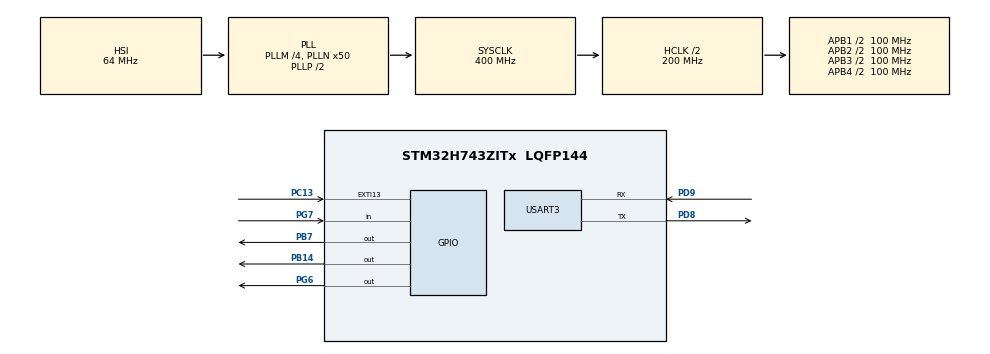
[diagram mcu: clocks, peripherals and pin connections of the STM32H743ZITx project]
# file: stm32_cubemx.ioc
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CORTEX_M7.CPU_DCache=Enabled
CORTEX_M7.CPU_ICache=Enabled
Mcu.Family=STM32H7
Mcu.Name=STM32H743ZITx
Mcu.Package=LQFP144
NVIC.PriorityGroup=NVIC_PRIORITYGROUP_4
PA1.GPIO_Mode=GPIO_MODE_AF_PP
PA1.GPIO_PuPd=GPIO_NOPULL
PA1.GPIO_Speed=GPIO_SPEED_FREQ_LOW
PA1.Signal=ETH_REF_CLK
PA10.GPIO_Mode=GPIO_MODE_AF_PP
PA10.GPIO_PuPd=GPIO_NOPULL
PA10.GPIO_Speed=GPIO_SPEED_FREQ_LOW
PA10.Signal=USB_OTG_FS_ID
PA11.GPIO_Mode=GPIO_MODE_AF_PP
PA11.GPIO_PuPd=GPIO_NOPULL
PA11.GPIO_Speed=GPIO_SPEED_FREQ_LOW
PA11.Signal=USB_OTG_FS_DM
PA12.GPIO_Mode=GPIO_MODE_AF_PP
PA12.GPIO_PuPd=GPIO_NOPULL
PA12.GPIO_Speed=GPIO_SPEED_FREQ_LOW
PA12.Signal=USB_OTG_FS_DP
PA2.GPIO_Mode=GPIO_MODE_AF_PP
PA2.GPIO_PuPd=GPIO_NOPULL
PA2.GPIO_Speed=GPIO_SPEED_FREQ_LOW
PA2.Signal=ETH_MDIO
PA7.GPIO_Mode=GPIO_MODE_AF_PP
PA7.GPIO_PuPd=GPIO_NOPULL
PA7.GPIO_Speed=GPIO_SPEED_FREQ_LOW
PA7.Signal=ETH_CRS_DV
PA8.GPIO_Mode=GPIO_MODE_AF_PP
PA8.GPIO_PuPd=GPIO_NOPULL
PA8.GPIO_Speed=GPIO_SPEED_FREQ_LOW
PA8.Signal=USB_OTG_FS_SOF
PA9.GPIO_Mode=GPIO_MODE_INPUT
PA9.GPIO_PuPd=GPIO_NOPULL
PA9.Signal=USB_OTG_FS_VBUS
PB13.GPIO_Mode=GPIO_MODE_AF_PP
PB13.GPIO_PuPd=GPIO_NOPULL
PB13.GPIO_Speed=GPIO_SPEED_FREQ_LOW
PB13.Signal=ETH_TXD1
PB14.GPIO_ModeDefaultOutputPP=GPIO_MODE_OUTPUT_PP
PB14.GPIO_PuPd=GPIO_NOPULL
PB14.GPIO_Speed=GPIO_SPEED_FREQ_LOW
PB14.PinState=GPIO_PIN_RESET
PB14.Signal=GPIO_Output
PB7.GPIO_FM7=__NULL
PB7.GPIO_ModeDefaultOutputPP=GPIO_MODE_OUTPUT_PP
PB7.GPIO_PuPd=GPIO_NOPULL
PB7.GPIO_Speed=GPIO_SPEED_FREQ_LOW
PB7.PinState=GPIO_PIN_RESET
PB7.Signal=GPIO_Output
PC1.GPIO_Mode=GPIO_MODE_AF_PP
PC1.GPIO_PuPd=GPIO_NOPULL
PC1.GPIO_Speed=GPIO_SPEED_FREQ_LOW
PC1.Signal=ETH_MDC
PC13.GPIO_ModeDefaultEXTI=GPIO_MODE_IT_RISING
PC13.GPIO_PuPd=GPIO_NOPULL
PC13.Signal=GPXTI13
PC14-OSC32_IN\ (OSC32_IN).Mode=LSE-External-Oscillator
PC14-OSC32_IN\ (OSC32_IN).Signal=RCC_OSC32_IN
PC15-OSC32_OUT\ (OSC32_OUT).Mode=LSE-External-Oscillator
PC15-OSC32_OUT\ (OSC32_OUT).Signal=RCC_OSC32_OUT
PC4.GPIO_Mode=GPIO_MODE_AF_PP
PC4.GPIO_PuPd=GPIO_NOPULL
PC4.GPIO_Speed=GPIO_SPEED_FREQ_LOW
PC4.Signal=ETH_RXD0
PC5.GPIO_Mode=GPIO_MODE_AF_PP
PC5.GPIO_PuPd=GPIO_NOPULL
PC5.GPIO_Speed=GPIO_SPEED_FREQ_LOW
PC5.Signal=ETH_RXD1
PD8.GPIO_ModeDefaultPP=GPIO_MODE_AF_PP
PD8.GPIO_PuPd=GPIO_NOPULL
PD8.GPIO_Speed=GPIO_SPEED_FREQ_LOW
PD8.Mode=Asynchronous
PD8.Signal=USART3_TX
PD9.GPIO_ModeDefaultPP=GPIO_MODE_AF_PP
PD9.GPIO_PuPd=GPIO_NOPULL
PD9.GPIO_Speed=GPIO_SPEED_FREQ_LOW
PD9.Mode=Asynchronous
PD9.Signal=USART3_RX
PG11.GPIO_Mode=GPIO_MODE_AF_PP
PG11.GPIO_PuPd=GPIO_NOPULL
PG11.GPIO_Speed=GPIO_SPEED_FREQ_LOW
PG11.Signal=ETH_TX_EN
PG13.GPIO_Mode=GPIO_MODE_AF_PP
PG13.GPIO_PuPd=GPIO_NOPULL
PG13.GPIO_Speed=GPIO_SPEED_FREQ_LOW
PG13.Signal=ETH_TXD0
PG6.GPIO_ModeDefaultOutputPP=GPIO_MODE_OUTPUT_PP
PG6.GPIO_PuPd=GPIO_NOPULL
PG6.GPIO_Speed=GPIO_SPEED_FREQ_LOW
PG6.PinState=GPIO_PIN_RESET
PG6.Signal=GPIO_Output
PG7.GPIO_Mode=GPIO_MODE_INPUT
PG7.GPIO_PuPd=GPIO_NOPULL
PG7.Signal=GPIO_Input
PH0-OSC_IN\ (PH0).Mode=HSE-External-Clock-Source
PH0-OSC_IN\ (PH0).Signal=RCC_OSC_IN
PH1-OSC_OUT\ (PH1).Mode=HSE-External-Clock-Source
PH1-OSC_OUT\ (PH1).Signal=RCC_OSC_OUT
ProjectManager.HeapSize=0x200
ProjectManager.StackSize=0x400
ProjectManager.TargetToolchain=Makefile
RCC.ADCFreq_Value=129000000
RCC.APB1Freq_Value=100000000
RCC.APB2Freq_Value=100000000
RCC.APB3Freq_Value=100000000
RCC.APB4Freq_Value=100000000
RCC.CortexFreq_Value=400000000
RCC.D1PPRE=RCC_APB3_DIV2
RCC.D2PPRE1=RCC_APB1_DIV2
RCC.D2PPRE2=RCC_APB2_DIV2
RCC.D3PPRE=RCC_APB4_DIV2
RCC.DIVM1=4
RCC.DIVN1=50
RCC.HCLKFreq_Value=200000000
RCC.HPRE=RCC_HCLK_DIV2
RCC.PLLFRACN=0
RCC.SYSCLKFreq_VALUE=400000000
RCC.SYSCLKSource=RCC_SYSCLKSOURCE_PLLCLK
RCC.USBCLockSelection=RCC_USBCLKSOURCE_HSI48
RCC.USBFreq_Value=48000000
USART3.VirtualMode-Asynchronous=VM_ASYNC
board=NUCLEO-H743ZI

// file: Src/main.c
/* USER CODE BEGIN Header */
/**
  ******************************************************************************
  * @file           : main.c
  * @brief          : Main program body
  ******************************************************************************
  * @attention
  *
  * <h2><center>&copy; Copyright (c) 2019 STMicroelectronics.
  * All rights reserved.</center></h2>
  *
  * This software component is licensed by ST under BSD 3-Clause license,
  * the "License"; You may not use this file except in compliance with the
  * License. You may obtain a copy of the License at:
  *                        opensource.org/licenses/BSD-3-Clause
  *
  ******************************************************************************
  */
/* USER CODE END Header */

#include "main.h"

/* USER CODE BEGIN Includes */

#include <stdint.h>
#include <stdio.h>

#include "network.h"
#include "test_stimulus.h"

/* USER CODE END Includes */

UART_HandleTypeDef huart3;

void SystemClock_Config(void);
static void MX_GPIO_Init(void);
static void MX_USART3_UART_Init(void);

/* USER CODE BEGIN 0 */

int _write(int file, char *data, int len)
{
   HAL_StatusTypeDef status = HAL_UART_Transmit(&huart3, (uint8_t*) data, len, 1000);

   return (status == HAL_OK ? len : 0);
}

/* USER CODE END 0 */

int main(void)
{

  /* Enable I-Cache---------------------------------------------------------*/
  SCB_EnableICache();

  /* Enable D-Cache---------------------------------------------------------*/
  SCB_EnableDCache();

  /* MCU Configuration--------------------------------------------------------*/

  /* Reset of all peripherals, Initializes the Flash interface and the Systick. */
  HAL_Init();

  /* Configure the system clock */
  SystemClock_Config();

  /* Initialize all configured peripherals */
  MX_GPIO_Init();
  MX_USART3_UART_Init();
  /* USER CODE BEGIN 2 */

  printf("Start benchmark.\r\n");

  const size_t nb_iterations = 5;
  const uint32_t start = HAL_GetTick();

  int32_t prediction = -1;

  /* USER CODE END 2 */

  /* Infinite loop */
  /* USER CODE BEGIN WHILE */
  for(size_t i = 0; i < nb_iterations; i++)
  {
    /* USER CODE END WHILE */

    /* USER CODE BEGIN 3 */
    propagate((const void*) input, &prediction);
  }

  const uint32_t stop = HAL_GetTick();

  printf("End benchmark.\r\n");
  printf("Time per image: %lu ms\r\n", (stop-start)/nb_iterations);
  printf("Predicted class: %ld.\r\n\n", prediction);

  /* USER CODE END 3 */
}

void SystemClock_Config(void)
{
  RCC_OscInitTypeDef RCC_OscInitStruct = {0};
  RCC_ClkInitTypeDef RCC_ClkInitStruct = {0};
  RCC_PeriphCLKInitTypeDef PeriphClkInitStruct = {0};

  /** Supply configuration update enable
  */
  HAL_PWREx_ConfigSupply(PWR_LDO_SUPPLY);
  /** Configure the main internal regulator output voltage
  */
  __HAL_PWR_VOLTAGESCALING_CONFIG(PWR_REGULATOR_VOLTAGE_SCALE1);

  while(!__HAL_PWR_GET_FLAG(PWR_FLAG_VOSRDY)) {}
  /** Initializes the CPU, AHB and APB busses clocks
  */
  RCC_OscInitStruct.OscillatorType = RCC_OSCILLATORTYPE_HSI;
  RCC_OscInitStruct.HSIState = RCC_HSI_DIV1;
  RCC_OscInitStruct.HSICalibrationValue = RCC_HSICALIBRATION_DEFAULT;
  RCC_OscInitStruct.PLL.PLLState = RCC_PLL_ON;
  RCC_OscInitStruct.PLL.PLLSource = RCC_PLLSOURCE_HSI;
  RCC_OscInitStruct.PLL.PLLM = 4;
  RCC_OscInitStruct.PLL.PLLN = 50;
  RCC_OscInitStruct.PLL.PLLP = 2;
  RCC_OscInitStruct.PLL.PLLQ = 2;
  RCC_OscInitStruct.PLL.PLLR = 2;
  RCC_OscInitStruct.PLL.PLLRGE = RCC_PLL1VCIRANGE_3;
  RCC_OscInitStruct.PLL.PLLVCOSEL = RCC_PLL1VCOWIDE;
  RCC_OscInitStruct.PLL.PLLFRACN = 0;
  if (HAL_RCC_OscConfig(&RCC_OscInitStruct) != HAL_OK)
  {
    Error_Handler();
  }
  /** Initializes the CPU, AHB and APB busses clocks
  */
  RCC_ClkInitStruct.ClockType = RCC_CLOCKTYPE_HCLK|RCC_CLOCKTYPE_SYSCLK
                              |RCC_CLOCKTYPE_PCLK1|RCC_CLOCKTYPE_PCLK2
                              |RCC_CLOCKTYPE_D3PCLK1|RCC_CLOCKTYPE_D1PCLK1;
  RCC_ClkInitStruct.SYSCLKSource = RCC_SYSCLKSOURCE_PLLCLK;
  RCC_ClkInitStruct.SYSCLKDivider = RCC_SYSCLK_DIV1;
  RCC_ClkInitStruct.AHBCLKDivider = RCC_HCLK_DIV2;
  RCC_ClkInitStruct.APB3CLKDivider = RCC_APB3_DIV2;
  RCC_ClkInitStruct.APB1CLKDivider = RCC_APB1_DIV2;
  RCC_ClkInitStruct.APB2CLKDivider = RCC_APB2_DIV2;
  RCC_ClkInitStruct.APB4CLKDivider = RCC_APB4_DIV2;

  if (HAL_RCC_ClockConfig(&RCC_ClkInitStruct, FLASH_LATENCY_2) != HAL_OK)
  {
    Error_Handler();
  }
  PeriphClkInitStruct.PeriphClockSelection = RCC_PERIPHCLK_USART3;
  PeriphClkInitStruct.Usart234578ClockSelection = RCC_USART234578CLKSOURCE_D2PCLK1;
  if (HAL_RCCEx_PeriphCLKConfig(&PeriphClkInitStruct) != HAL_OK)
  {
    Error_Handler();
  }
}

static void MX_USART3_UART_Init(void)
{

  huart3.Instance = USART3;
  huart3.Init.BaudRate = 115200;
  huart3.Init.WordLength = UART_WORDLENGTH_8B;
  huart3.Init.StopBits = UART_STOPBITS_1;
  huart3.Init.Parity = UART_PARITY_NONE;
  huart3.Init.Mode = UART_MODE_TX_RX;
  huart3.Init.HwFlowCtl = UART_HWCONTROL_NONE;
  huart3.Init.OverSampling = UART_OVERSAMPLING_16;
  huart3.Init.OneBitSampling = UART_ONE_BIT_SAMPLE_DISABLE;
  huart3.Init.ClockPrescaler = UART_PRESCALER_DIV1;
  huart3.AdvancedInit.AdvFeatureInit = UART_ADVFEATURE_NO_INIT;
  if (HAL_UART_Init(&huart3) != HAL_OK)
  {
    Error_Handler();
  }
  if (HAL_UARTEx_SetTxFifoThreshold(&huart3, UART_TXFIFO_THRESHOLD_1_8) != HAL_OK)
  {
    Error_Handler();
  }
  if (HAL_UARTEx_SetRxFifoThreshold(&huart3, UART_RXFIFO_THRESHOLD_1_8) != HAL_OK)
  {
    Error_Handler();
  }
  if (HAL_UARTEx_DisableFifoMode(&huart3) != HAL_OK)
  {
    Error_Handler();
  }

}

static void MX_GPIO_Init(void)
{
  GPIO_InitTypeDef GPIO_InitStruct = {0};

  /* GPIO Ports Clock Enable */
  __HAL_RCC_GPIOC_CLK_ENABLE();
  __HAL_RCC_GPIOH_CLK_ENABLE();
  __HAL_RCC_GPIOA_CLK_ENABLE();
  __HAL_RCC_GPIOB_CLK_ENABLE();
  __HAL_RCC_GPIOD_CLK_ENABLE();
  __HAL_RCC_GPIOG_CLK_ENABLE();

  /*Configure GPIO pin Output Level */
  HAL_GPIO_WritePin(GPIOB, GPIO_PIN_14|GPIO_PIN_7, GPIO_PIN_RESET);

  /*Configure GPIO pin Output Level */
  HAL_GPIO_WritePin(GPIOG, GPIO_PIN_6, GPIO_PIN_RESET);

  /*Configure GPIO pin : PC13 */
  GPIO_InitStruct.Pin = GPIO_PIN_13;
  GPIO_InitStruct.Mode = GPIO_MODE_IT_RISING;
  GPIO_InitStruct.Pull = GPIO_NOPULL;
  HAL_GPIO_Init(GPIOC, &GPIO_InitStruct);

  /*Configure GPIO pins : PC1 PC4 PC5 */
  GPIO_InitStruct.Pin = GPIO_PIN_1|GPIO_PIN_4|GPIO_PIN_5;
  GPIO_InitStruct.Mode = GPIO_MODE_AF_PP;
  GPIO_InitStruct.Pull = GPIO_NOPULL;
  GPIO_InitStruct.Speed = GPIO_SPEED_FREQ_LOW;
  GPIO_InitStruct.Alternate = GPIO_AF11_ETH;
  HAL_GPIO_Init(GPIOC, &GPIO_InitStruct);

  /*Configure GPIO pins : PA1 PA2 PA7 */
  GPIO_InitStruct.Pin = GPIO_PIN_1|GPIO_PIN_2|GPIO_PIN_7;
  GPIO_InitStruct.Mode = GPIO_MODE_AF_PP;
  GPIO_InitStruct.Pull = GPIO_NOPULL;
  GPIO_InitStruct.Speed = GPIO_SPEED_FREQ_LOW;
  GPIO_InitStruct.Alternate = GPIO_AF11_ETH;
  HAL_GPIO_Init(GPIOA, &GPIO_InitStruct);

  /*Configure GPIO pin : PB13 */
  GPIO_InitStruct.Pin = GPIO_PIN_13;
  GPIO_InitStruct.Mode = GPIO_MODE_AF_PP;
  GPIO_InitStruct.Pull = GPIO_NOPULL;
  GPIO_InitStruct.Speed = GPIO_SPEED_FREQ_LOW;
  GPIO_InitStruct.Alternate = GPIO_AF11_ETH;
  HAL_GPIO_Init(GPIOB, &GPIO_InitStruct);

  /*Configure GPIO pins : PB14 PB7 */
  GPIO_InitStruct.Pin = GPIO_PIN_14|GPIO_PIN_7;
  GPIO_InitStruct.Mode = GPIO_MODE_OUTPUT_PP;
  GPIO_InitStruct.Pull = GPIO_NOPULL;
  GPIO_InitStruct.Speed = GPIO_SPEED_FREQ_LOW;
  HAL_GPIO_Init(GPIOB, &GPIO_InitStruct);

  /*Configure GPIO pin : PG6 */
  GPIO_InitStruct.Pin = GPIO_PIN_6;
  GPIO_InitStruct.Mode = GPIO_MODE_OUTPUT_PP;
  GPIO_InitStruct.Pull = GPIO_NOPULL;
  GPIO_InitStruct.Speed = GPIO_SPEED_FREQ_LOW;
  HAL_GPIO_Init(GPIOG, &GPIO_InitStruct);

  /*Configure GPIO pin : PG7 */
  GPIO_InitStruct.Pin = GPIO_PIN_7;
  GPIO_InitStruct.Mode = GPIO_MODE_INPUT;
  GPIO_InitStruct.Pull = GPIO_NOPULL;
  HAL_GPIO_Init(GPIOG, &GPIO_InitStruct);

  /*Configure GPIO pins : PA8 PA10 PA11 PA12 */
  GPIO_InitStruct.Pin = GPIO_PIN_8|GPIO_PIN_10|GPIO_PIN_11|GPIO_PIN_12;
  GPIO_InitStruct.Mode = GPIO_MODE_AF_PP;
  GPIO_InitStruct.Pull = GPIO_NOPULL;
  GPIO_InitStruct.Speed = GPIO_SPEED_FREQ_LOW;
  GPIO_InitStruct.Alternate = GPIO_AF10_OTG1_FS;
  HAL_GPIO_Init(GPIOA, &GPIO_InitStruct);

  /*Configure GPIO pins : PG11 PG13 */
  GPIO_InitStruct.Pin = GPIO_PIN_11|GPIO_PIN_13;
  GPIO_InitStruct.Mode = GPIO_MODE_AF_PP;
  GPIO_InitStruct.Pull = GPIO_NOPULL;
  GPIO_InitStruct.Speed = GPIO_SPEED_FREQ_LOW;
  GPIO_InitStruct.Alternate = GPIO_AF11_ETH;
  HAL_GPIO_Init(GPIOG, &GPIO_InitStruct);

}

void Error_Handler(void)
{
}

/************************ (C) COPYRIGHT STMicroelectronics *****END OF FILE****/
